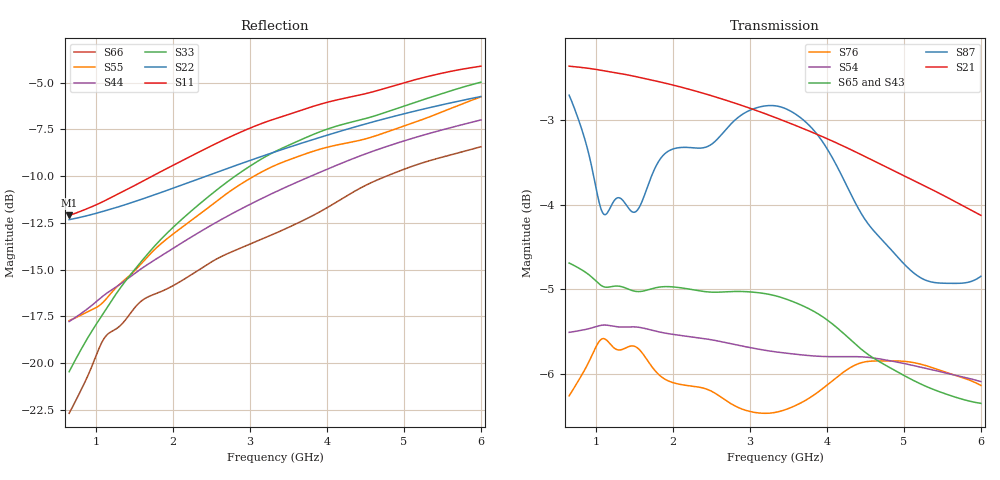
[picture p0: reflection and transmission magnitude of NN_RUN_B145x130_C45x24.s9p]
! IGNION VIRTUAL ANTENNA LIBRARY
! NN_RUN_B145x130_C45x24
! Virtual Antenna™ RUN mXTEND™: NN02-224 12.0 mm x 3.0 mm x 2.4 mm
! https://ignion.io/product/run-mxtend/
! Board: 145 mm x 130 mm
! Clearance Area: 45 mm x 24 mm
! Feeding line: L-shape; 24mm x 2mm and 5mm x 2mm
! Applications: Smart meter, Routers/Repeaters
! Frequency range 0.65GHz to 6GHz, step 10MHz
! Number of ports 9
! This product and its use is protected by at least one or more of the following patents and patent
! applications US 8,203,492 B2; US 8,237,615 B2; PCT/EP2013/064692; WO 2014/012842 A1; US 2019/190122 A1;
! US 62/072,671; and other domestic and international patents pending. Additional information about
! patents related to this product is available at https://ignion.io/files/Patent-list-NN.pdf, all
! rights reserved. Copyright, Ignion 2021.
! Need more help? Your platform is much different than these examples in the manual? Use our
! Fast Track service (https://ignion.io/fast-track/), for free, and get a personalized antenna design in
! just 24 hours.
! Touchstone port 1 = "Series Port"
! Touchstone port 2 = "Shunt Port"
! Touchstone port 3 = "Series Port"
! Touchstone port 4 = "Shunt Port"
! Touchstone port 5 = "Series Port"
! Touchstone port 6 = "Shunt Port"
! Touchstone port 7 = "Series Port"
! Touchstone port 8 = "Shunt Port"
! Touchstone port 9 = "Series Port"
! IE3D S-Parameters Output Version 2.0
# GHZ S MA R 50
! Nport = 9
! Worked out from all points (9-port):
!   536 points, 650 MHz to 6 GHz, reference 50 ohm
!   strongest paths, dB at 650 MHz, 1.99 GHz, 3.33 GHz, 4.67 GHz, 6 GHz:
!     S21: -2.4, -2.6, -3.0, -3.5, -4.1
!     S87: -2.7, -3.3, -2.8, -4.4, -4.8
!     S65: -4.7, -5.0, -5.1, -5.9, -6.4
!     S43: -4.6, -4.9, -5.2, -5.7, -6.3
!     S54: -5.5, -5.5, -5.7, -5.8, -6.1
!     S76: -6.3, -6.1, -6.5, -5.8, -6.1
!   lowest |S11| = -12.1 dB at 650 MHz (marker M1), VSWR 1.66, Z = 31.1 + j7.29 ohm
!   |S11| at or under -10 dB: start of sweep to 1.731 GHz
